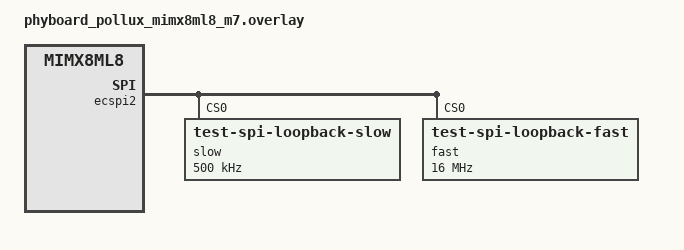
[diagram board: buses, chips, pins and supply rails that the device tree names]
/*
 * Copyright (c) 2025 PHYTEC Messtechnik GmbH
 *
 * SPDX-License-Identifier: Apache-2.0
 */

&ecspi2 {
	status = "okay";

	slow@0 {
		compatible = "test-spi-loopback-slow";
		reg = <0>;
		spi-max-frequency = <500000>;
	};
	fast@0 {
		compatible = "test-spi-loopback-fast";
		reg = <0>;
		spi-max-frequency = <16000000>;
	};
};

&gpio5 {
	status = "okay";
};
